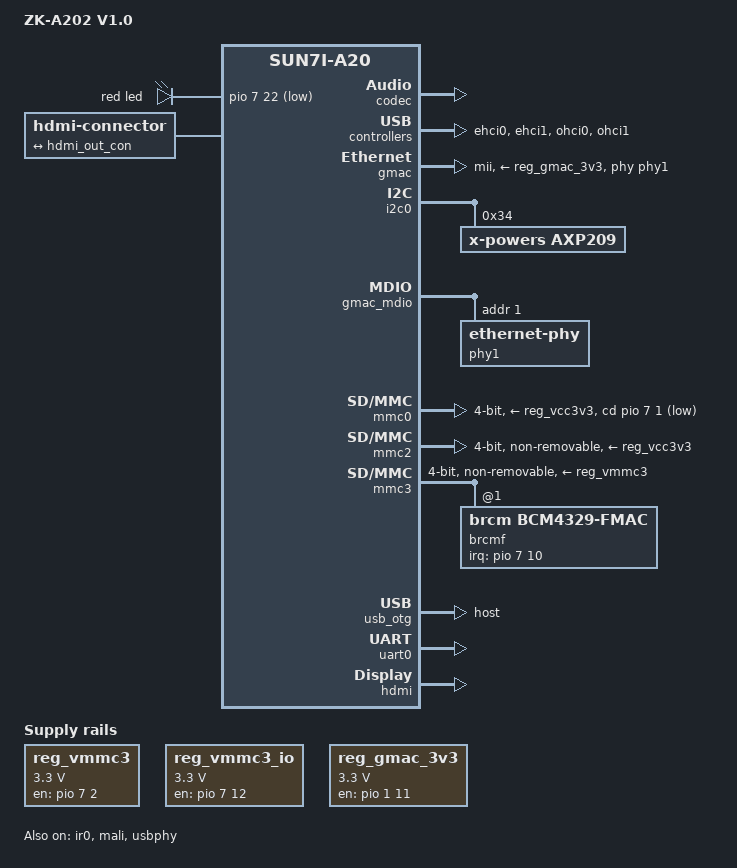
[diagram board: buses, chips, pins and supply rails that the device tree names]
/*
 * Copyright 2014 Hans de Goede <hdegoede@redhat.com>
 *
 * This file is dual-licensed: you can use it either under the terms
 * of the GPL or the X11 license, at your option. Note that this dual
 * licensing only applies to this file, and not this project as a
 * whole.
 *
 *  a) This file is free software; you can redistribute it and/or
 *     modify it under the terms of the GNU General Public License as
 *     published by the Free Software Foundation; either version 2 of the
 *     License, or (at your option) any later version.
 *
 *     This file is distributed in the hope that it will be useful,
 *     but WITHOUT ANY WARRANTY; without even the implied warranty of
 *     MERCHANTABILITY or FITNESS FOR A PARTICULAR PURPOSE.  See the
 *     GNU General Public License for more details.
 *
 * Or, alternatively,
 *
 *  b) Permission is hereby granted, free of charge, to any person
 *     obtaining a copy of this software and associated documentation
 *     files (the "Software"), to deal in the Software without
 *     restriction, including without limitation the rights to use,
 *     copy, modify, merge, publish, distribute, sublicense, and/or
 *     sell copies of the Software, and to permit persons to whom the
 *     Software is furnished to do so, subject to the following
 *     conditions:
 *
 *     The above copyright notice and this permission notice shall be
 *     included in all copies or substantial portions of the Software.
 *
 *     THE SOFTWARE IS PROVIDED "AS IS", WITHOUT WARRANTY OF ANY KIND,
 *     EXPRESS OR IMPLIED, INCLUDING BUT NOT LIMITED TO THE WARRANTIES
 *     OF MERCHANTABILITY, FITNESS FOR A PARTICULAR PURPOSE AND
 *     NONINFRINGEMENT. IN NO EVENT SHALL THE AUTHORS OR COPYRIGHT
 *     HOLDERS BE LIABLE FOR ANY CLAIM, DAMAGES OR OTHER LIABILITY,
 *     WHETHER IN AN ACTION OF CONTRACT, TORT OR OTHERWISE, ARISING
 *     FROM, OUT OF OR IN CONNECTION WITH THE SOFTWARE OR THE USE OR
 *     OTHER DEALINGS IN THE SOFTWARE.
 */

/dts-v1/;
#include "sun7i-a20.dtsi"
#include "sunxi-common-regulators.dtsi"

#include <dt-bindings/gpio/gpio.h>
#include <dt-bindings/interrupt-controller/irq.h>

/ {
	model = "ZK-A202 V1.0";
	compatible = "allwinner,sun7i-a20";

	aliases {
		serial0 = &uart0;
	};

	chosen {
		stdout-path = "serial0:115200n8";
	};

	leds {
		compatible = "gpio-leds";

		led-0 {
			label = "red led";
			gpios = <&pio 7 22 GPIO_ACTIVE_LOW>;
		};

		// led-1 {
		// 	label = "i12_tvbox:blue:usr";
		// 	gpios = <&pio 7 20 GPIO_ACTIVE_HIGH>;
		// };
	};

	reg_vmmc3: vmmc3 {
		compatible = "regulator-fixed";
		regulator-name = "vmmc3";
		regulator-min-microvolt = <3300000>;
		regulator-max-microvolt = <3300000>;
		enable-active-high;
		gpio = <&pio 7 2 GPIO_ACTIVE_HIGH>;
	};

	reg_vmmc3_io: vmmc3-io {
		compatible = "regulator-fixed";
		regulator-name = "vmmc3-io";
		regulator-min-microvolt = <3300000>;
		regulator-max-microvolt = <3300000>;
		/* This controls VCC-PI, must be always on! */
		regulator-always-on;
		enable-active-high;
		gpio = <&pio 7 12 GPIO_ACTIVE_HIGH>;
	};

	reg_gmac_3v3: gmac-3v3 {
		compatible = "regulator-fixed";
		regulator-name = "gmac-3v3";
		regulator-min-microvolt = <3300000>;
		regulator-max-microvolt = <3300000>;
		startup-delay-us = <50000>;
		enable-active-high;
		gpio = <&pio 1 11 GPIO_ACTIVE_HIGH>;
	};

  hdmi-connector {
    compatible = "hdmi-connector";
    type = "a";

    port {
      hdmi_con_in: endpoint {
        remote-endpoint = <&hdmi_out_con>;
      };
    };
  };
  // sound {
	// 	compatible = "simple-audio-card";
	// 	simple-audio-card,name = "On-board SPDIF";

	// 	simple-audio-card,cpu {
	// 		sound-dai = <&spdif>;
	// 	};

	// 	simple-audio-card,codec {
	// 		sound-dai = <&spdif_out>;
	// 	};
	// };

	// spdif_out: spdif-out {
	// 	#sound-dai-cells = <0>;
	// 	compatible = "linux,spdif-dit";
	// };
};

&codec {
	status = "okay";
};
// &spdif {
//   status = "okay";
// };
// &i2s0 {
//   status = "okay";
// };
// &i2s1 {
//   status = "okay";
// };
// &i2s2 {
//   status = "okay";
// };
&ehci0 {
	status = "okay";
};

&ehci1 {
	status = "okay";
};

&gmac {
	pinctrl-names = "default";
	pinctrl-0 = <&gmac_mii_pins>;
	phy-handle = <&phy1>;
	phy-mode = "mii";
	phy-supply = <&reg_gmac_3v3>;
	status = "okay";
};

&i2c0 {
	status = "okay";

	axp209: pmic@34 {
		compatible = "x-powers,axp209";
		reg = <0x34>;
		interrupt-parent = <&nmi_intc>;
		interrupts = <0 IRQ_TYPE_LEVEL_LOW>;

		interrupt-controller;
		#interrupt-cells = <1>;
	};
};

&ir0 {
	pinctrl-names = "default";
	pinctrl-0 = <&ir0_rx_pin>;
	status = "okay";
};

&gmac_mdio {
	phy1: ethernet-phy@1 {
		reg = <1>;
	};
};

&mmc0 {
	vmmc-supply = <&reg_vcc3v3>;
	bus-width = <4>;
	cd-gpios = <&pio 7 1 GPIO_ACTIVE_LOW>; /* PH1 */
	status = "okay";
};

&mmc2 {
	vmmc-supply = <&reg_vcc3v3>;
	bus-width = <4>;
	non-removable;
	status = "okay";
};

&mmc3 {
	vmmc-supply = <&reg_vmmc3>;
	bus-width = <4>;
	non-removable;
	status = "okay";

	brcmf: wifi@1 {
		reg = <1>;
		compatible = "brcm,bcm4329-fmac";
		interrupt-parent = <&pio>;
		interrupts = <7 10 IRQ_TYPE_LEVEL_LOW>; /* PH10 / EINT10 */
		interrupt-names = "host-wake";
	};
};

&usb_otg {
  status = "okay";
  dr_mode = "host";
};
&otg_sram {
	status = "okay";
};
&ohci0 {
	status = "okay";
};

&ohci1 {
	status = "okay";
};

&reg_usb1_vbus {
	status = "okay";
  // OTG USB供电为GPIO41置1
  // USB供电为GPIO249
  gpio = <&pio 7 25 GPIO_ACTIVE_HIGH>;
};

&reg_usb0_vbus {
	status = "okay";
};

// &reg_usb2_vbus {
// 	status = "okay";
// };
&mali {
  status = "okay";
};

&uart0 {
	pinctrl-names = "default";
	pinctrl-0 = <&uart0_pb_pins>;
	status = "okay";
};

&usbphy {
  // usb0_id_det-gpios = <&pio 7 4 (GPIO_ACTIVE_HIGH | GPIO_PULL_UP)>; /* PH4 */
	usb0_vbus-supply = <&reg_usb0_vbus>;
	usb1_vbus-supply = <&reg_usb1_vbus>;
  usb2_vbus-supply = <&reg_usb1_vbus>;
	status = "okay";
};



&hdmi {
	status = "okay";
};

&hdmi_out {
	hdmi_out_con: endpoint {
		remote-endpoint = <&hdmi_con_in>;
	};
};

